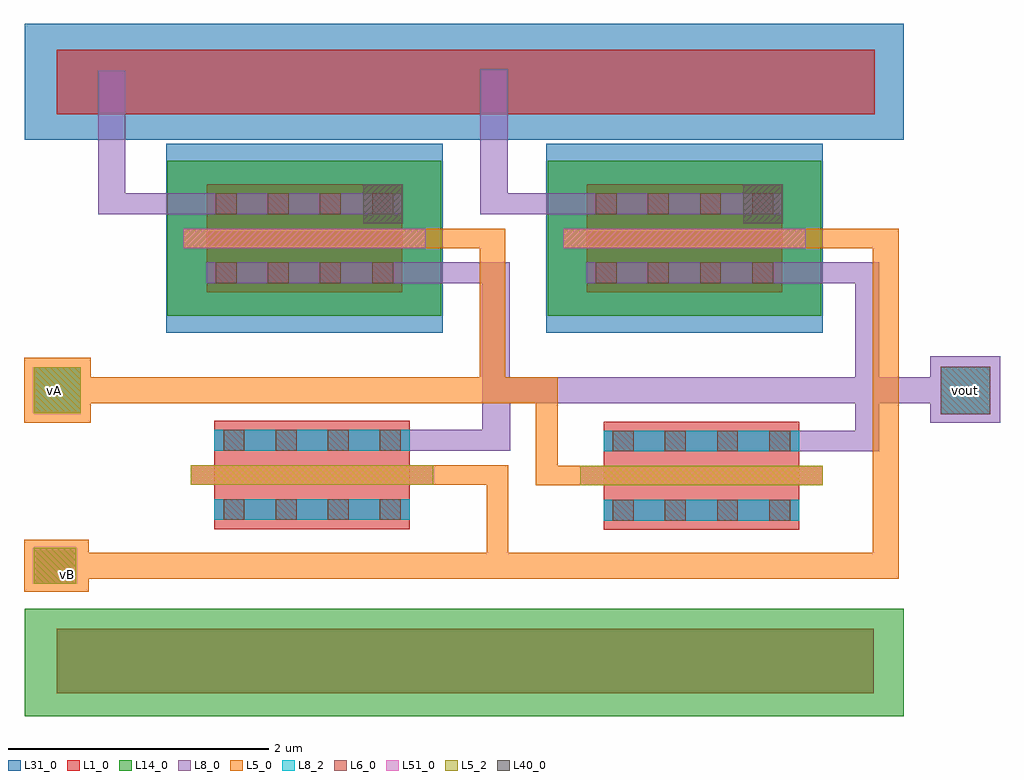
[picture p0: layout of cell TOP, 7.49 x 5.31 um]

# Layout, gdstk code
from math import pi, radians
import gdstk
lib = gdstk.Library(unit=1e-6, precision=5e-09)
def R(c, l, rs):  # rectangles x0, y0, x1, y1
    for r in rs: c.add(gdstk.rectangle(r[:2], r[2:], *l))
def A(c, l, x, y, w, h, nx, ny, dx, dy):  # array of equal rectangles
    R(c, l, [(x+i*dx, y+j*dy, x+i*dx+w, y+j*dy+h) for i in range(nx) for j in range(ny)])
def P(c, l, *ps):  # polygons
    for p in ps: c.add(gdstk.Polygon(p, *l))
L1_0 = (1, 0)
L5_0 = (5, 0)
L5_2 = (5, 2)
L6_0 = (6, 0)
L8_0 = (8, 0)
L8_2 = (8, 2)
L14_0 = (14, 0)
L31_0 = (31, 0)
L40_0 = (40, 0)
L51_0 = (51, 0)

pmos = lib.new_cell('pmos')
R(pmos, L1_0, [(0,0,0.3,0.3), (0,0,0.83,1.5), (0.53,0,0.83,0.3)])
R(pmos, L5_0, [(0.34,-0.18,0.49,1.68), (0.34,-0.18,0.49,1.68)])
A(pmos, L6_0, 0.07, 0.07, 0.16, 0.16, 1, 4, 0, 0.4)
A(pmos, L6_0, 0.6, 0.07, 0.16, 0.16, 1, 4, 0, 0.4)
R(pmos, L8_0, [(0.07,0,0.23,1.5), (0.07,0,0.23,1.5), (0.6,0,0.76,1.5), (0.6,0,0.76,1.5)])
R(pmos, L14_0, [(-0.18,-0.3,1.01,1.8)])
R(pmos, L31_0, [(-0.31,-0.31,1.14,1.81)])
R(pmos, L40_0, [(0.53,0,0.83,0.3)])
R(pmos, L51_0, [(0.34,-0.18,0.49,1.68)])
pmos.add(gdstk.Label('pmos', (0.415,0.75), layer=63, texttype=0))
pmos.add(gdstk.Label('pmos', (0.415,0.75), layer=51, texttype=0))

nmos_1 = lib.new_cell('nmos$1')
R(nmos_1, L1_0, [(0,0,0.3,0.3), (0,0,0.83,1.5), (0.53,0,0.83,0.3)])
R(nmos_1, L5_0, [(0.34,-0.18,0.49,1.68)])
R(nmos_1, L5_2, [(0.34,-0.18,0.49,1.68)])
A(nmos_1, L6_0, 0.07, 0.07, 0.16, 0.16, 1, 4, 0, 0.4)
A(nmos_1, L6_0, 0.6, 0.07, 0.16, 0.16, 1, 4, 0, 0.4)
R(nmos_1, L8_0, [(0.07,0,0.23,1.5), (0.6,0,0.76,1.5)])
R(nmos_1, L8_2, [(0.07,0,0.23,1.5), (0.6,0,0.76,1.5)])
R(nmos_1, L51_0, [(0.34,-0.18,0.49,1.68)])
nmos_1.add(gdstk.Label('nmos', (0.415,0.75), layer=63, texttype=0))
nmos_1.add(gdstk.Label('nmos', (0.415,0.75), layer=51, texttype=0))

top = lib.new_cell('TOP')
R(top, L1_0, [(-6.465,0.415,-0.2,0.91), (-6.465,4.855,-0.19,5.35)])
P(top, L5_0, [(-6.715,2.49),(-6.715,2.99),(-6.205,2.99),(-6.205,2.84),(-3.22,2.84),(-3.22,3.83),(-3.635,3.83),(-3.635,3.98),(-3.025,3.98),(-3.025,2.84),(-2.62,2.84),(-2.62,2.64),(-6.205,2.64),(-6.205,2.49)],
  [(-2.79,2.01),(-2.79,2.65),(-2.62,2.65),(-2.62,2.16),(-2.45,2.16),(-2.45,2.01)],
  [(-3.165,1.495),(-3.165,2.015),(-3.575,2.015),(-3.575,2.165),(-3,2.165),(-3,1.495)],
  [(-6.715,1.195),(-6.715,1.595),(-6.22,1.595),(-6.22,1.495),(-0.205,1.495),(-0.205,3.83),(-0.72,3.83),(-0.72,3.98),(-0.205,3.98),(-0.005,3.98),(-0.005,1.295),(-6.22,1.295),(-6.22,1.195)])
R(top, L5_2, [(-6.64,1.255,-6.315,1.53), (-6.64,2.565,-6.28,2.915)])
R(top, L6_0, [(-6.64,1.255,-6.315,1.53), (0.315,2.555,0.695,2.92), (-6.64,2.565,-6.28,2.915)])
R(top, L8_0, [(-6.64,1.255,-6.315,1.53)])
P(top, L8_0, [(-0.77,2.27),(-0.77,2.43),(-0.34,2.43),(-0.34,2.64),(-2.985,2.64),(-2.985,2.275),(-3.755,2.275),(-3.755,2.435),(-3.2,2.435),(-3.2,3.56),(-3.815,3.56),(-3.815,3.72),(-2.99,3.72),(-2.99,2.84),(-0.34,2.84),(-0.34,3.56),(-0.9,3.56),(-0.9,3.72),(-0.155,3.72),(-0.155,2.84),(0.235,2.84),(0.235,3),(0.77,3),(0.77,2.49),(0.235,2.49),(0.235,2.64),(-0.155,2.64),(-0.155,2.27)],
  [(-6.145,4.09),(-6.145,5.19),(-5.94,5.19),(-5.94,4.25),(-5.315,4.25),(-5.315,4.09)],
  [(-3.215,4.09),(-3.215,5.2),(-3.005,5.2),(-3.005,4.25),(-2.4,4.25),(-2.4,4.09)])
R(top, L8_2, [(0.315,2.555,0.695,2.92), (-6.64,2.565,-6.28,2.915)])
P(top, L14_0, [(-6.71,0.24),(-6.71,1.065),(-0.615,1.065),(0.03,1.065),(0.03,0.24)])
R(top, L31_0, [(-6.71,4.66,0.03,5.55)])
top.add(gdstk.Reference(pmos, (-0.9,3.49), rotation=pi/2))
top.add(gdstk.Reference(pmos, (-3.815,3.49), rotation=pi/2))
top.add(gdstk.Reference(nmos_1, (-0.77,1.67), rotation=pi/2))
top.add(gdstk.Reference(nmos_1, (-3.755,1.675), rotation=pi/2))
top.add(gdstk.Label('vB', (-6.385,1.325), layer=8, texttype=0))
top.add(gdstk.Label('vA', (-6.48,2.735), layer=8, texttype=2))
top.add(gdstk.Label('vout', (0.505,2.735), layer=8, texttype=2))

lib.write_gds('TOP.gds')
